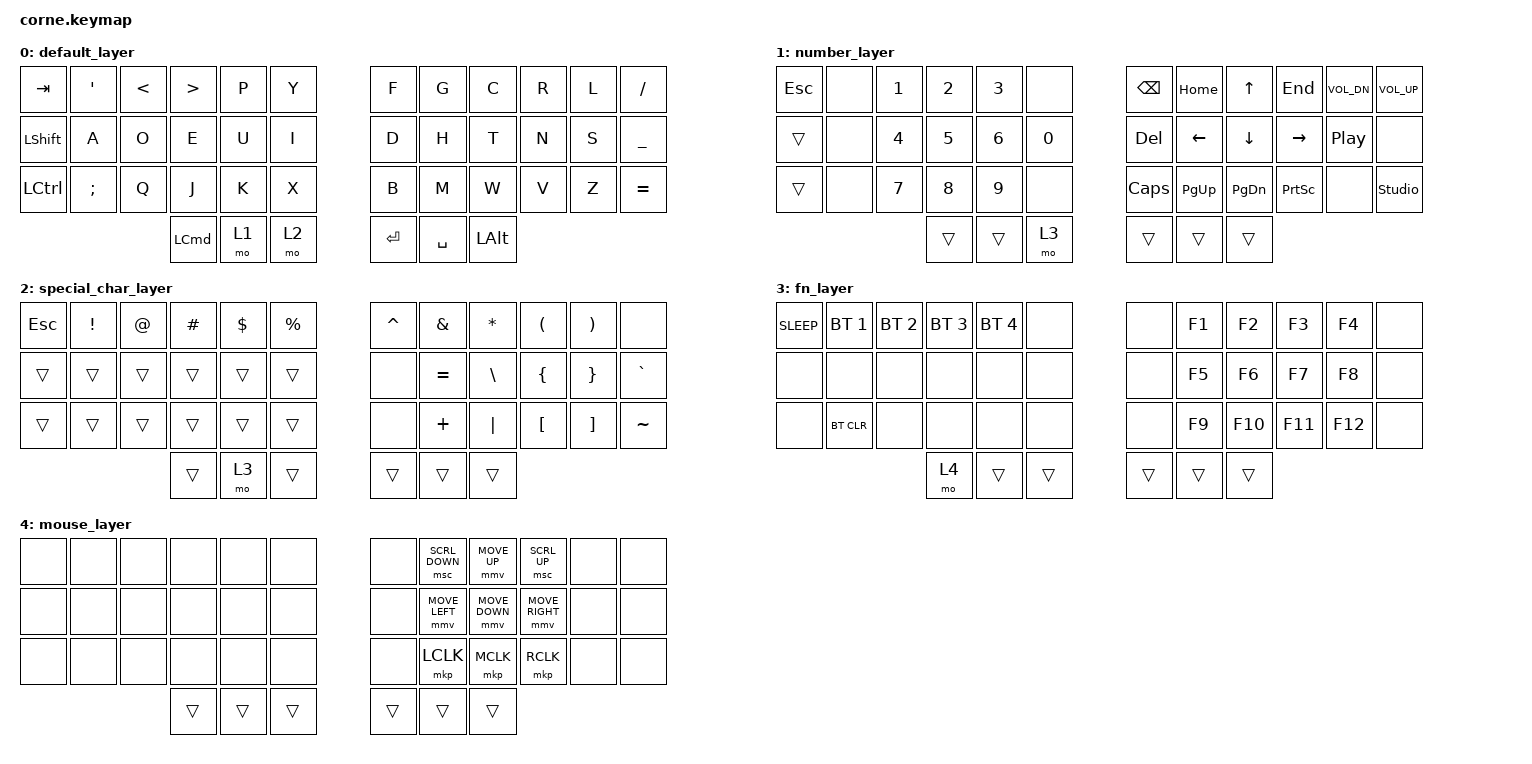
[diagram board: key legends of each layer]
/*
 * Copyright (c) 2020 The ZMK Contributors
 *
 * SPDX-License-Identifier: MIT
 */

// default: 600
#define ZMK_POINTING_DEFAULT_MOVE_VAL 1500
// default: 10
#define ZMK_POINTING_DEFAULT_SCRL_VAL 20

#include <behaviors.dtsi>
#include <dt-bindings/zmk/keys.h>
#include <dt-bindings/zmk/bt.h>
#include <dt-bindings/zmk/pointing.h>
#include <dt-bindings/zmk/mouse.h>

/ {
        keymap {
                compatible = "zmk,keymap";

                default_layer {
// -----------------------------------------------------------------------------------------
// |  TAB |  '  |  ,  |  .  |  P  |  Y  |   |  F  |  G   |  C  |  R  |  L  |   /   |
// | SHFT |  A  |  O  |  E  |  U  |  I  |   |  D  |  H   |  T  |  N  |  S  |       |
// | CTRL |  ;  |  Q  |  J  |  K  |  X  |   |  B  |  M   |  W  |  V  |  Z  |   =   |
//                    | CMD |MO(1)|MO(2)|   | ENT |SPACE | ALT |
                        bindings = <
   &kp TAB    &kp SINGLE_QUOTE &kp LESS_THAN &kp GREATER_THAN &kp P &kp Y       &kp F   &kp G     &kp C &kp R &kp L &kp SLASH
   &kp LSHIFT &kp A            &kp O         &kp E            &kp U &kp I       &kp D   &kp H     &kp T &kp N &kp S &kp UNDERSCORE
   &kp LCTRL  &kp SEMI         &kp Q         &kp J            &kp K &kp X       &kp B   &kp M     &kp W &kp V &kp Z &kp EQUAL
                                             &kp LCMD         &mo 1 &mo 2       &kp RET &kp SPACE &kp LEFT_ALT
                        >;
                };
                number_layer {
// -----------------------------------------------------------------------------------------
// |  ESC |     |  1  |  2  |  3  |     |   | BSPC | HOME  |  UP   | END | VOL DOWN   | VOL UP |
// | SHFT |     |  4  |  5  |  6  |  0  |   | DEL  | LEFT  | DOWN  |RIGHT| PLAY PAUSE |        |
// | CTRL |     |  7  |  8  |  9  |     |   | CAPS | PG UP |PG DOWN|     |            | UNLOCK |
//                    | CMD |     |     |   | ENT |     | ALT |
                        bindings = <
   &kp ESC &none &kp N1 &kp N2 &kp N3 &none        &kp BACKSPACE &kp HOME    &kp UP        &kp END         &kp C_VOL_DN     &kp C_VOL_UP
   &trans  &none &kp N4 &kp N5 &kp N6 &kp N0       &kp DELETE    &kp LEFT    &kp DOWN      &kp RIGHT       &kp C_PLAY_PAUSE &none
   &trans  &none &kp N7 &kp N8 &kp N9 &none        &kp CAPS      &kp PAGE_UP &kp PAGE_DOWN &kp PRINTSCREEN &none            &studio_unlock
                        &trans &trans &mo 3        &trans        &trans      &trans
                        >;
                };

                special_char_layer {
// -----------------------------------------------------------------------------------------
// |  TAB |  !  |  @  |  #  |  $  |  %  |   |  ^  |  &  |  *  |  (  |  )  | BSPC |
// | CTRL |     |     |     |     |     |   |  -  |  =  |  {  |  }  |  \  |  `   |
// | SHFT |     |     |     |     |     |   |  _  |  +  |  [  |  ]  | "|" |  ~   |
//                    | CMD |     | SPC |   | ENT |     | ALT |
                        bindings = <
   &kp ESC &kp EXCL &kp AT &kp HASH &kp DLLR &kp PRCNT    &kp CARET &kp AMPS  &kp ASTRK &kp LPAR &kp RPAR &none
   &trans  &trans   &trans &trans   &trans   &trans       &none     &kp EQUAL &kp BSLH  &kp LBRC &kp RBRC &kp GRAVE
   &trans  &trans   &trans &trans   &trans   &trans       &none     &kp PLUS  &kp PIPE  &kp LBKT &kp RBKT &kp TILDE
                           &trans   &mo 3    &trans       &trans    &trans    &trans
                        >;
                };
                fn_layer {
// -----------------------------------------------------------------------------------------
// |    |    |     |     |     |     |  |     |     |     |     |     |     |
// |    |    |     |     |     |     |  |     |     |     |     |     |     |
// |    |    |     |     |     |     |  |     |     |     |     |     |     |
//                 | CMD |     | SPC |  | ENT |     | ALT |
                        bindings = <
    &kp K_SLEEP &bt BT_SEL 1  &bt BT_SEL 2 &bt BT_SEL 3 &bt BT_SEL 4 &none         &none  &kp F1 &kp F2  &kp F3  &kp F4  &none
    &none       &none         &none        &none        &none        &none         &none  &kp F5 &kp F6  &kp F7  &kp F8  &none
    &none       &bt BT_CLR    &none        &none        &none        &none         &none  &kp F9 &kp F10 &kp F11 &kp F12 &none
                                           &mo 4        &trans       &trans        &trans &trans &trans
                        >;
                };
                mouse_layer {
// -----------------------------------------------------------------------------------------
// |    |    |     |     |     |     |  |     |     |     |     |     |     |
// |    |    |     |     |     |     |  |     |     |     |     |     |     |
// |    |    |     |     |     |     |  |     |     |     |     |     |     |
//                 | CMD |     | SPC |  | ENT |     | ALT |
                        bindings = <
    &none &none &none &none  &none  &none        &none &msc SCRL_DOWN &mmv MOVE_UP   &msc SCRL_UP    &none &none
    &none &none &none &none  &none  &none        &none &mmv MOVE_LEFT &mmv MOVE_DOWN &mmv MOVE_RIGHT &none &none
    &none &none &none &none  &none  &none        &none &mkp LCLK      &mkp MCLK      &mkp RCLK       &none &none
                      &trans &trans &trans       &trans &trans &trans
                        >;
                };
        };
};
